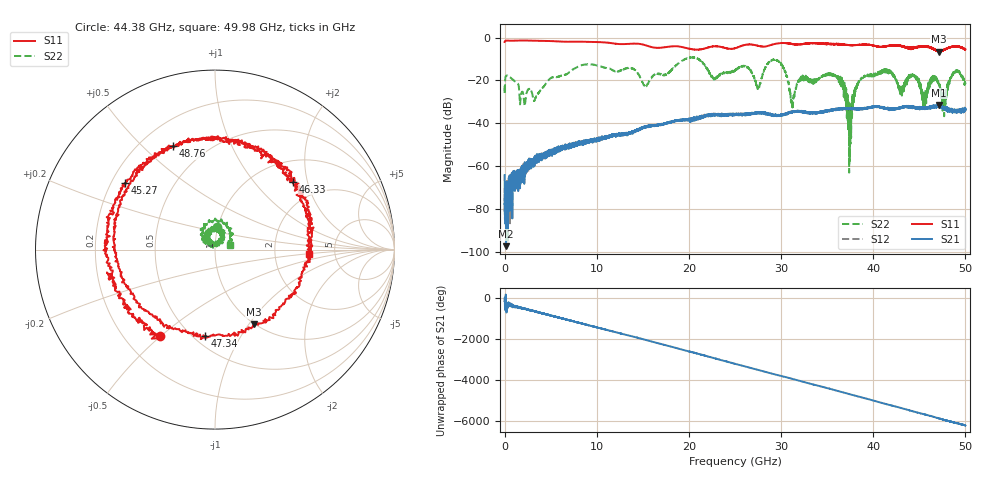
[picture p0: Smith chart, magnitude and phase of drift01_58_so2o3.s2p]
!Created with skrf (http://scikit-rf.org).
# Hz S RI R 50.0
!freq ReS11 ImS11 ReS21 ImS21 ReS12 ImS12 ReS22 ImS22
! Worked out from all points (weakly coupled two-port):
!   10001 points, 300 kHz to 50 GHz, reference 50 ohm
!   highest |S21| = -31.46 dB at 47.1 GHz (marker M1); lowest = -97.2 dB at 150.3 MHz (marker M2)
!   lowest |S11| = -6.6 dB at 47.11 GHz (marker M3), VSWR 2.77, Z = 49.4 - j52.9 ohm
!   |S11| at or under -10 dB: nowhere
!   |S22| runs from -62.9 to -9.2 dB; largest |S21 - S12| = 0.0037
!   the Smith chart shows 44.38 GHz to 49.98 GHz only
!   S11 on the Smith chart (normalised r, x): 44.38 GHz: 0.35, -0.50; 45.27 GHz: 0.25, +0.31; 46.33 GHz: 1.44, +1.64; 47.34 GHz: 0.57, -0.71; 48.76 GHz: 0.33, +0.62; 49.98 GHz: 3.20, -0.23
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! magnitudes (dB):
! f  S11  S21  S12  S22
! 300 kHz  -2.1  -64.1  -80.7  -22.5
! 150.3 MHz  -1.5  -97.2  -78.2  -17.9
! 3.29 GHz  -1.5  -58.8  -56.4  -28.8
! 8.335 GHz  -1.9  -49.0  -49.0  -12.9
! 16.67 GHz  -4.8  -40.7  -40.8  -16.7
! 25 GHz  -5.0  -35.6  -36.2  -15.4
! 29.58 GHz  -2.8  -36.5  -36.2  -10.6
! 31.24 GHz  -2.9  -34.6  -34.7  -32.6
! 33.34 GHz  -2.6  -34.8  -35.2  -20.0
! 36.2 GHz  -2.9  -33.2  -33.3  -18.0
! 37.47 GHz  -3.6  -33.1  -33.3  -34.7
! 38.65 GHz  -3.3  -33.3  -33.2  -19.5
! 41.67 GHz  -3.9  -33.1  -33.3  -15.8
! 44.38 GHz  -4.9  -32.4  -32.6  -17.9
! 45.27 GHz  -4.1  -33.0  -33.1  -24.7
! 46.33 GHz  -4.8  -32.3  -32.2  -18.5
! 47.1 GHz  -6.5  -31.5  -32.4  -21.7
! 47.11 GHz  -6.6  -31.7  -31.8  -21.7
! 47.34 GHz  -6.3  -31.7  -32.5  -24.4
! 48.76 GHz  -4.1  -34.6  -34.0  -16.7
! 49.98 GHz  -5.6  -33.9  -34.0  -21.3
! 50 GHz  -5.5  -33.4  -33.2  -21.3
